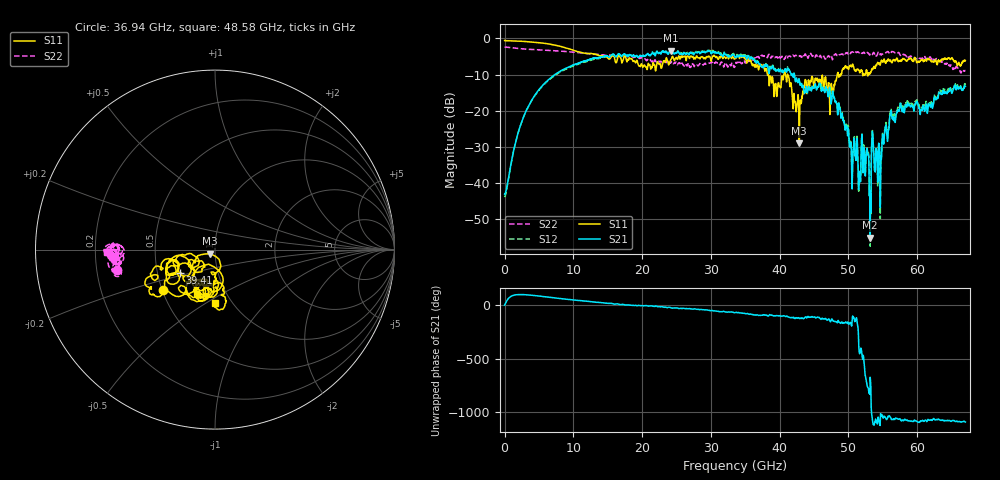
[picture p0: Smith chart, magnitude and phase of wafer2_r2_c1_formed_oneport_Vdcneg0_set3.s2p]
!Keysight Technologies,N5227A,US51270248,A.10.65.08
!Date: Tuesday, June 11, 2024 08:23:44
!Correction: S11(Full 2 Port(1,4))
!S41(Full 2 Port(1,4))
!S14(Full 2 Port(1,4))
!S44(Full 2 Port(1,4))
!S2P File: Measurements: S11, S41, S14, S44:
# Hz S  dB  R 50
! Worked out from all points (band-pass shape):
!   3201 points, 10 MHz to 67 GHz, reference 50 ohm
!   highest |S21| = -3.39 dB at 24.19 GHz (marker M1); lowest = -55.1 dB at 53.16 GHz (marker M2)
!   |S21| within 3 dB of the highest: 11.59 GHz to 36.39 GHz (24.8 GHz wide, 103 % of centre); 36.43926 GHz to 36.55519 GHz (115.9 MHz wide, 0.318 % of centre)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
!   lowest |S11| = -29.0 dB at 42.84 GHz (marker M3), VSWR 1.07, Z = 47.3 - j2.21 ohm
!   |S11| at or under -10 dB: 38.36 GHz to 40.6 GHz (2.239 GHz wide, 5.67 % of centre); 41.16 GHz to 48.39 GHz (7.224 GHz wide, 16.1 % of centre); 48.54 GHz to 48.9 GHz (358.3 MHz wide, 0.735 % of centre)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
!   |S22| runs from -9.5 to -2.4 dB; largest |S21 - S12| = 0.052
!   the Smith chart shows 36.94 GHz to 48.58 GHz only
!   S11 on the Smith chart (normalised r, x): 36.94 GHz: 0.50, -0.26; 39.41 GHz: 0.65, -0.18; 48.58 GHz: 0.84, -0.55
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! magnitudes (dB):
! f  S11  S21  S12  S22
! 10 MHz  -0.6  -43.0  -43.8  -2.4
! 1.936 GHz  -0.8  -26.3  -26.4  -2.8
! 3.925 GHz  -1.0  -17.2  -17.3  -3.1
! 11.19 GHz  -3.9  -6.5  -6.9  -4.0
! 22.35 GHz  -6.9  -4.0  -4.0  -6.3
! 24.19 GHz  -5.9  -3.4  -3.4  -6.7
! 33.51 GHz  -5.6  -5.2  -5.2  -7.6
! 36.94 GHz  -8.7  -7.0  -7.1  -5.1
! 39.41 GHz  -12.5  -9.0  -8.9  -5.2
! 40.96 GHz  -11.1  -9.2  -9.1  -4.9
! 42.84 GHz  -29.0  -11.5  -11.3  -4.8
! 44.68 GHz  -10.6  -13.9  -13.6  -4.7
! 47.55 GHz  -13.1  -17.3  -16.7  -5.1
! 48.58 GHz  -10.5  -17.9  -17.8  -4.4
! 50.42 GHz  -7.9  -31.0  -30.4  -3.9
! 52.53 GHz  -9.4  -33.9  -32.9  -4.3
! 53.16 GHz  -9.4  -55.1  -57.4  -4.4
! 53.69 GHz  -7.8  -32.3  -32.1  -3.9
! 54.52 GHz  -6.8  -30.6  -30.9  -4.5
! 55.84 GHz  -5.9  -25.3  -24.7  -3.8
! 57.41 GHz  -6.2  -19.8  -19.4  -4.2
! 67 GHz  -6.2  -13.3  -12.9  -8.9
